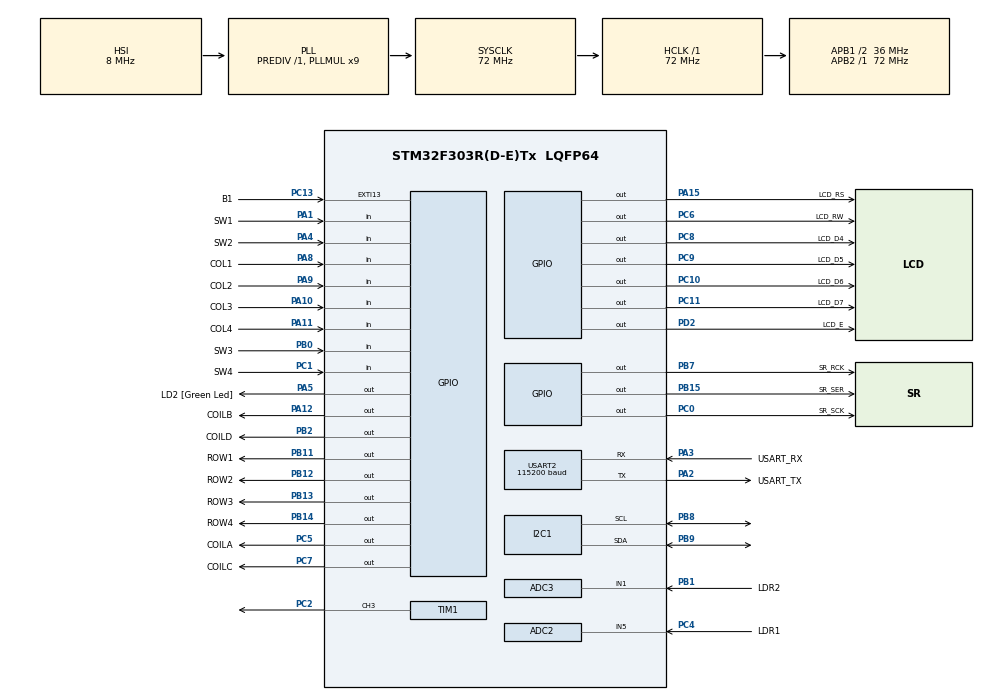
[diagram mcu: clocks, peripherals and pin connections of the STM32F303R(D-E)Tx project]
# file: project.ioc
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ADC2.Channel-1\#ChannelRegularConversion=ADC_CHANNEL_5
ADC2.NbrOfConversionFlag=1
ADC2.Offset-1\#ChannelRegularConversion=0
ADC2.OffsetNumber-1\#ChannelRegularConversion=ADC_OFFSET_NONE
ADC2.Rank-1\#ChannelRegularConversion=1
ADC2.SamplingTime-1\#ChannelRegularConversion=ADC_SAMPLETIME_1CYCLE_5
ADC3.Channel-2\#ChannelRegularConversion=ADC_CHANNEL_1
ADC3.NbrOfConversionFlag=1
ADC3.Offset-2\#ChannelRegularConversion=0
ADC3.OffsetNumber-2\#ChannelRegularConversion=ADC_OFFSET_NONE
ADC3.Rank-2\#ChannelRegularConversion=1
ADC3.SamplingTime-2\#ChannelRegularConversion=ADC_SAMPLETIME_1CYCLE_5
ADC3.SamplingTimeOPAMP-2\#ChannelRegularConversion=ADC_SAMPLETIME_61CYCLES_5
ADC3.master=1
I2C1.Timing=0x00201D2B
Mcu.Family=STM32F3
Mcu.Name=STM32F303R(D-E)Tx
Mcu.Package=LQFP64
NVIC.EXTI15_10_IRQn=true\:0\:0\:false\:false\:true\:true\:true\:true
NVIC.PriorityGroup=NVIC_PRIORITYGROUP_0
NVIC.TIM2_IRQn=true\:0\:0\:false\:false\:true\:true\:true\:true
PA1.GPIO_Label=SW1
PA1.Signal=GPIO_Input
PA10.GPIO_Label=COL3
PA10.GPIO_PuPd=GPIO_PULLUP
PA10.Signal=GPIO_Input
PA11.GPIO_Label=COL4
PA11.GPIO_PuPd=GPIO_PULLUP
PA11.Signal=GPIO_Input
PA12.GPIO_Label=COILB
PA12.Signal=GPIO_Output
PA13.GPIO_Label=TMS
PA13.Mode=Serial_Wire
PA13.Signal=SYS_JTMS-SWDIO
PA14.GPIO_Label=TCK
PA14.Mode=Serial_Wire
PA14.Signal=SYS_JTCK-SWCLK
PA15.GPIO_Label=LCD_RS
PA15.Signal=GPIO_Output
PA2.GPIO_Label=USART_TX
PA2.GPIO_Mode=GPIO_MODE_AF_PP
PA2.GPIO_PuPd=GPIO_NOPULL
PA2.GPIO_Speed=GPIO_SPEED_FREQ_LOW
PA2.Mode=Asynchronous
PA2.Signal=USART2_TX
PA3.GPIO_Label=USART_RX
PA3.GPIO_Mode=GPIO_MODE_AF_PP
PA3.GPIO_PuPd=GPIO_NOPULL
PA3.GPIO_Speed=GPIO_SPEED_FREQ_LOW
PA3.Mode=Asynchronous
PA3.Signal=USART2_RX
PA4.GPIO_Label=SW2
PA4.Signal=GPIO_Input
PA5.GPIO_Label=LD2 [Green Led]
PA5.GPIO_Mode=GPIO_MODE_OUTPUT_PP
PA5.GPIO_PuPd=GPIO_NOPULL
PA5.GPIO_Speed=GPIO_SPEED_FREQ_LOW
PA5.Signal=GPIO_Output
PA8.GPIO_Label=COL1
PA8.GPIO_PuPd=GPIO_PULLUP
PA8.Signal=GPIO_Input
PA9.GPIO_Label=COL2
PA9.GPIO_PuPd=GPIO_PULLUP
PA9.Signal=GPIO_Input
PB0.GPIO_Label=SW3
PB0.Signal=GPIO_Input
PB1.GPIO_Label=LDR2
PB1.Mode=IN1-Single-Ended
PB1.Signal=ADC3_IN1
PB11.GPIO_Label=ROW1
PB11.Signal=GPIO_Output
PB12.GPIO_Label=ROW2
PB12.Signal=GPIO_Output
PB13.GPIO_Label=ROW3
PB13.Signal=GPIO_Output
PB14.GPIO_Label=ROW4
PB14.Signal=GPIO_Output
PB15.GPIO_Label=SR_SER
PB15.Signal=GPIO_Output
PB2.GPIO_Label=COILD
PB2.Signal=GPIO_Output
PB3.GPIO_Label=SWO
PB3.Signal=SYS_JTDO-TRACESWO
PB7.GPIO_Label=SR_RCK
PB7.Signal=GPIO_Output
PB8.Mode=I2C
PB8.Signal=I2C1_SCL
PB9.Mode=I2C
PB9.Signal=I2C1_SDA
PC0.GPIO_Label=SR_SCK
PC0.Signal=GPIO_Output
PC1.GPIO_Label=SW4
PC1.Signal=GPIO_Input
PC10.GPIO_Label=LCD_D6
PC10.Signal=GPIO_Output
PC11.GPIO_Label=LCD_D7
PC11.Signal=GPIO_Output
PC13.GPIO_Label=B1
PC13.GPIO_ModeDefaultEXTI=GPIO_MODE_IT_FALLING
PC13.Signal=GPXTI13
PC14-OSC32_IN.Mode=LSE-External-Oscillator
PC14-OSC32_IN.Signal=RCC_OSC32_IN
PC15-OSC32_OUT.Mode=LSE-External-Oscillator
PC15-OSC32_OUT.Signal=RCC_OSC32_OUT
PC2.Signal=S_TIM1_CH3
PC4.GPIO_Label=LDR1
PC4.Mode=IN5-Single-Ended
PC4.Signal=ADC2_IN5
PC5.GPIO_Label=COILA
PC5.Signal=GPIO_Output
PC6.GPIO_Label=LCD_RW
PC6.Signal=GPIO_Output
PC7.GPIO_Label=COILC
PC7.Signal=GPIO_Output
PC8.GPIO_Label=LCD_D4
PC8.Signal=GPIO_Output
PC9.GPIO_Label=LCD_D5
PC9.Signal=GPIO_Output
PD2.GPIO_Label=LCD_E
PD2.Signal=GPIO_Output
PF0-OSC_IN.Mode=HSE-External-Clock-Source
PF0-OSC_IN.Signal=RCC_OSC_IN
PF1-OSC_OUT.Signal=RCC_OSC_OUT
ProjectManager.HeapSize=0x200
ProjectManager.StackSize=0x400
ProjectManager.TargetToolchain=STM32CubeIDE
RCC.AHBFreq_Value=72000000
RCC.APB1CLKDivider=RCC_HCLK_DIV2
RCC.APB1Freq_Value=36000000
RCC.APB1TimFreq_Value=72000000
RCC.APB2Freq_Value=72000000
RCC.APB2TimFreq_Value=72000000
RCC.CortexFreq_Value=72000000
RCC.HCLKFreq_Value=72000000
RCC.HSE_VALUE=8000000
RCC.HSI_VALUE=8000000
RCC.PLLM=8
RCC.PLLMUL=RCC_PLL_MUL9
RCC.PLLN=336
RCC.PLLP=RCC_PLLP_DIV4
RCC.PLLQ=7
RCC.RCC_PLLsource_Clock_Source_FROM_HSE=RCC_HSE_PREDIV_DIV2
RCC.SYSCLKFreq_VALUE=72000000
RCC.SYSCLKSourceVirtual=RCC_SYSCLKSOURCE_PLLCLK
RCC.USBFreq_Value=72000000
SH.S_TIM1_CH3.0=TIM1_CH3,PWM Generation3 CH3
TIM1.Channel-PWM\ Generation3\ CH3=TIM_CHANNEL_3
TIM1.Prescaler=35
TIM2.Period=1999
TIM2.Prescaler=71
TIM6.Prescaler=65535
USART2.BaudRate=115200
USART2.VirtualMode-Asynchronous=VM_ASYNC
VP_TIM1_VS_ClockSourceINT.Mode=Internal
VP_TIM2_VS_ClockSourceINT.Mode=Internal
VP_TIM6_VS_ClockSourceINT.Mode=Enable_Timer
board=NUCLEO-F303RE

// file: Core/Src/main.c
/* USER CODE BEGIN Header */
/**
  ******************************************************************************
  * @file           : main.c
  * @brief          : Main program body
  ******************************************************************************
  * @attention
  *
  * Copyright (c) 2026 STMicroelectronics.
  * All rights reserved.
  *
  * This software is licensed under terms that can be found in the LICENSE file
  * in the root directory of this software component.
  * If no LICENSE file comes with this software, it is provided AS-IS.
  *
  ******************************************************************************
  */
/* USER CODE END Header */
#include "main.h"

/* USER CODE BEGIN Includes */
#include <stdio.h>

#include "motor.h"
#include "ldr.h"
#include "ShiftReg.h"
#include "proj_keypad.h"
#include "proj_lcd.h"
#include "proj_events.h"
#include "proj_auth.h"
/* USER CODE END Includes */

/* USER CODE BEGIN PD */
enum person_pos {
	IDLE,
	IN_APRCH,
	IN_BLOCK,
	IN_THRU,
	OUT_APRCH,
	OUT_BLOCK,
	OUT_THRU
};

enum door_state {
	CLOSED,
	IN_OPEN,
	IN_CLOSE,
	OUT_OPEN,
	OUT_CLOSE
};
/* USER CODE END PD */

/* USER CODE BEGIN PM */
#define LOW_FREQ_ARR 6078
#define HIGH_FREQ_ARR 3039
#define DOPEN_PERIOD 7690u
/* USER CODE END PM */

ADC_HandleTypeDef hadc2;
ADC_HandleTypeDef hadc3;

I2C_HandleTypeDef hi2c1;

TIM_HandleTypeDef htim1;
TIM_HandleTypeDef htim2;
TIM_HandleTypeDef htim6;

UART_HandleTypeDef huart2;

/* USER CODE BEGIN PV */
int buzzer_counter = 0;
int unauth_flag = 0;
bool updateLCD = true;
/* USER CODE END PV */

void SystemClock_Config(void);
static void MX_GPIO_Init(void);
static void MX_USART2_UART_Init(void);
static void MX_TIM2_Init(void);
static void MX_ADC2_Init(void);
static void MX_ADC3_Init(void);
static void MX_I2C1_Init(void);
static void MX_TIM1_Init(void);
static void MX_TIM6_Init(void);

/* USER CODE BEGIN 0 */
/*==================================================================*/
int _write(int file, char *ptr, int len)
{
	HAL_UART_Transmit(&huart2, (uint8_t*)ptr, len, HAL_MAX_DELAY);
    return len;
}
/*==================================================================*/

/* Start alert. */
static void unauth_alert_start(void) {
	unauth_flag = 1;
	buzzer_counter = 1;

	TIM1->ARR = LOW_FREQ_ARR;
	TIM1->CCR3 = LOW_FREQ_ARR / 20;

	/* Display initial value. */
	ShiftRegDisplay();
}

/* Toggle the buzzer's tone, and right shift the shift register. */
static void unauth_update_peripherals(void) {
	/* Prevent this function being called repeatedly from the main while loop. */
	buzzer_counter = 1;

	if (TIM1->ARR == LOW_FREQ_ARR) {
		TIM1->ARR = HIGH_FREQ_ARR;
		TIM1->CCR3 = HIGH_FREQ_ARR / 20;
	} else {
		TIM1->ARR = LOW_FREQ_ARR;
		TIM1->CCR3 = LOW_FREQ_ARR / 20;
	}
	ShiftRegRightShift();
}

/* Turn off the alert. */
static void unauth_alert_end(void) {
	buzzer_counter = 0;
	unauth_flag = 0;
	TIM1->CCR3 = 0;
	ShiftRegReset();
}
/* USER CODE END 0 */

int main(void)
{

  /* MCU Configuration--------------------------------------------------------*/

  /* Reset of all peripherals, Initializes the Flash interface and the Systick. */
  HAL_Init();

  /* Configure the system clock */
  SystemClock_Config();

  /* Initialize all configured peripherals */
  MX_GPIO_Init();
  MX_USART2_UART_Init();
  MX_TIM2_Init();
  MX_ADC2_Init();
  MX_ADC3_Init();
  MX_I2C1_Init();
  MX_TIM1_Init();
  MX_TIM6_Init();
  /* USER CODE BEGIN 2 */
  /*===============Motor Init===================*/
  Motor_Init();
  Motor_Reset();
  HAL_TIM_Base_Start_IT(&htim2);
  /*==============================================*/
  HAL_TIM_PWM_Start(&htim1, TIM_CHANNEL_3);
  HAL_TIM_Base_Start(&htim6);
  enum person_pos pos = IDLE;
  // LCD init
    LCD_init();

	char test[] = "UART OK\r\n";
	HAL_UART_Transmit(&huart2, (uint8_t*)test, strlen(test), HAL_MAX_DELAY);

  	// Event scheduler initialiser
  	Event *head;
  	Event *curr;

  	EventInit(&head);
  	curr = NULL;

  	LCD_send_cmd(LCD_CLEAR);
  	LCD_send_cmd(LCD_ROW_1);
  	LCD_send_string("Initialising");
  	HAL_Delay(1000);
  	SetStartTime();

  	  // RFID init
  	printf("BEFORE PN532\r\n");

  	if(!PN532_Init())
  	{
  		printf("PN532 ERROR\r\n");
  	    Error_Handler();
  	}

  	printf("AFTER PN532\r\n");
  /* USER CODE END 2 */

  /* Infinite loop */
  /* USER CODE BEGIN WHILE */
  enum door_state dstate = CLOSED;
  int dopen_pending = 0;
  uint32_t dopen_time;
  int keypad_auth = 0;
  int auth_count = 0;
  int event_count = 0;
  while (1)
  {
	  int s1 = ldr1_active();
	  int s2 = ldr2_active();

	  /* Door FSM. */
	  if (dstate == CLOSED) {
		  if (dopen_pending || event_count) {
			  dstate = IN_OPEN;
			  Motor_SetPosition(OPEN_ForEntrance);
		  } else if (s2 && !s1) {
			  dstate = OUT_OPEN;
			  Motor_SetPosition(OPEN_ForExit);
		  }
		  dopen_time = TIM6->CNT;
	  } else if (dstate == IN_OPEN) {
		  /* Might tweak DOPEN_PERIOD based on how long the motor takes to rotate. */
		  if (event_count) {
			  dopen_time = TIM6->CNT;
		  } else if ((uint32_t)(TIM6->CNT - dopen_time) >= DOPEN_PERIOD) {
			  dstate = IN_CLOSE;
			  Motor_SetPosition(CLOSE);
		  }
	  } else if (dstate == IN_CLOSE) {
		  if (s1 || s2) {
			  dstate = IN_OPEN;
			  Motor_SetPosition(OPEN_ForEntrance);
			  dopen_time = TIM6->CNT;
		  } else if (DoorIsClosed()) {
			  dopen_pending = 0;
			  dstate = CLOSED;
			  auth_count = 0;
		  }
	  } else if (dstate == OUT_OPEN) {
		  if ((uint32_t)(TIM6->CNT - dopen_time) >= DOPEN_PERIOD) {
			  dstate = OUT_CLOSE;
			  Motor_SetPosition(CLOSE);
		  }
	  } else { /* dstate == OUT_CLOSE */
		  if (s1 || s2) {
			  dstate = OUT_OPEN;
			  Motor_SetPosition(OPEN_ForExit);
			  dopen_time = TIM6->CNT;
		  } else if (DoorIsClosed()) {
			  dopen_pending = 0;
			  dstate = CLOSED;
			  auth_count = 0;
		  }
	  }

//	  if (HAL_GPIO_ReadPin(GPIOA, SW2_Pin)) {
//		  unauth_alert_end();
//	  }

	  if (unauth_flag && !buzzer_counter) {
		  unauth_update_peripherals();
	  }

	  /* This is an FSM that determines a person's position in the doorway,
	   * so that we can count incoming people. Alert security when the count
	   * of incoming people exceeds the count of authorised access cards.
	   */
	  if (pos == IDLE) {
		  if (s1) {
			  pos = IN_APRCH;
		  }
		  if (s2) {
			  pos = OUT_APRCH;
		  }
	  } else if (pos == IN_APRCH) {
		  if (!s1) {
			  pos = IDLE;
		  }
		  if (s2) {
			  pos = IN_BLOCK;
		  }
	  } else if (pos == IN_BLOCK) {
		  if (!s1) {
			  pos = IN_THRU;
		  }
		  if (!s2) {
			  pos = IN_APRCH;
		  }
	  } else if (pos == IN_THRU) {
		  if (s1) {
			  pos = IN_BLOCK;
		  }
		  if (!s2) {
			  auth_count--;
			  if (auth_count < 0) {
				  unauth_alert_start();
			  }
			  HAL_GPIO_WritePin(LD2_GPIO_Port, LD2_Pin, 1);
			  HAL_Delay(1000);
			  HAL_GPIO_WritePin(LD2_GPIO_Port, LD2_Pin, 0);
			  pos = IDLE;
		  }
	  } else if (pos == OUT_APRCH) {
		  if (!s2) {
			  pos = IDLE;
		  }
		  if (s1) {
			  pos = OUT_BLOCK;
		  }
	  } else if (pos == OUT_BLOCK) {
		  if (!s1) {
			  pos = OUT_APRCH;
		  }
		  if (!s2) {
			  pos = OUT_THRU;
		  }
	  } else {
		  if (s2) {
			  pos = OUT_BLOCK;
		  }
		  if (!s1) {
			  pos = IDLE;
		  }
	  }

	  Motor_ManualSetLocation();

	  /*==============================================*/
	  // Change to NFC trigger Condition
	  /*==============================================*/
//	  if (HAL_GPIO_ReadPin(GPIOA, SW2_Pin) == 1) {
//		  HAL_Delay(12);
//		  Motor_SetPosition(OPEN_ForEntrance);
//	  }

	  /*==============================================*/
	  // Change to Motor Stopping Condition
	  /*==============================================*/
//	  if (HAL_GPIO_ReadPin(GPIOA, SW1_Pin) == 1) {
//	    HAL_Delay(12);
//	    Motor_Stop();
//	  }

	  if (keypad_auth) {
		  if (updateLCD) {
			  /* Display management menu. */
			  DisplayScreen(curr);
			  updateLCD = false;
		  }
		  ReadKeypad(&head, &curr, &dopen_pending, &keypad_auth, &auth_count, &dopen_time);
	  } else {
		  /* Authorisation check. */
		  Access_Check(&dopen_pending, &keypad_auth, &auth_count);
		  HAL_Delay(100);
	  }
//	  else if (authLevel == AUTH_DOOR) { /* Handled in door FSM now. */
//		  Motor_SetPosition(OPEN_ForEntrance);
//		  printf("open door\r\n");
//
//		  doorOpen = true;
//		  doorOpenTime = HAL_GetTick();
//
//		  authLevel = AUTH_NONE;
//	  }

//	  if (doorOpen && !scheduledOpen) {
//	      if ((HAL_GetTick() - doorOpenTime) > 5000) {
//	          Motor_SetPosition(CLOSE);
//	          doorOpen = false;
//	      }
//	  }

	  // Check events every loop
	  CheckEvents(&head, &curr, &event_count);

    /* USER CODE END WHILE */

  }
}

void SystemClock_Config(void)
{
  RCC_OscInitTypeDef RCC_OscInitStruct = {0};
  RCC_ClkInitTypeDef RCC_ClkInitStruct = {0};
  RCC_PeriphCLKInitTypeDef PeriphClkInit = {0};

  /** Initializes the RCC Oscillators according to the specified parameters
  * in the RCC_OscInitTypeDef structure.
  */
  RCC_OscInitStruct.OscillatorType = RCC_OSCILLATORTYPE_HSI;
  RCC_OscInitStruct.HSIState = RCC_HSI_ON;
  RCC_OscInitStruct.HSICalibrationValue = RCC_HSICALIBRATION_DEFAULT;
  RCC_OscInitStruct.PLL.PLLState = RCC_PLL_ON;
  RCC_OscInitStruct.PLL.PLLSource = RCC_PLLSOURCE_HSI;
  RCC_OscInitStruct.PLL.PLLMUL = RCC_PLL_MUL9;
  RCC_OscInitStruct.PLL.PREDIV = RCC_PREDIV_DIV1;
  if (HAL_RCC_OscConfig(&RCC_OscInitStruct) != HAL_OK)
  {
    Error_Handler();
  }

  /** Initializes the CPU, AHB and APB buses clocks
  */
  RCC_ClkInitStruct.ClockType = RCC_CLOCKTYPE_HCLK|RCC_CLOCKTYPE_SYSCLK
                              |RCC_CLOCKTYPE_PCLK1|RCC_CLOCKTYPE_PCLK2;
  RCC_ClkInitStruct.SYSCLKSource = RCC_SYSCLKSOURCE_PLLCLK;
  RCC_ClkInitStruct.AHBCLKDivider = RCC_SYSCLK_DIV1;
  RCC_ClkInitStruct.APB1CLKDivider = RCC_HCLK_DIV2;
  RCC_ClkInitStruct.APB2CLKDivider = RCC_HCLK_DIV1;

  if (HAL_RCC_ClockConfig(&RCC_ClkInitStruct, FLASH_LATENCY_2) != HAL_OK)
  {
    Error_Handler();
  }
  PeriphClkInit.PeriphClockSelection = RCC_PERIPHCLK_USART2|RCC_PERIPHCLK_I2C1
                              |RCC_PERIPHCLK_TIM1|RCC_PERIPHCLK_ADC12
                              |RCC_PERIPHCLK_ADC34|RCC_PERIPHCLK_TIM2;
  PeriphClkInit.Usart2ClockSelection = RCC_USART2CLKSOURCE_PCLK1;
  PeriphClkInit.Adc12ClockSelection = RCC_ADC12PLLCLK_DIV1;
  PeriphClkInit.Adc34ClockSelection = RCC_ADC34PLLCLK_DIV1;
  PeriphClkInit.I2c1ClockSelection = RCC_I2C1CLKSOURCE_HSI;
  PeriphClkInit.Tim1ClockSelection = RCC_TIM1CLK_HCLK;
  PeriphClkInit.Tim2ClockSelection = RCC_TIM2CLK_HCLK;
  if (HAL_RCCEx_PeriphCLKConfig(&PeriphClkInit) != HAL_OK)
  {
    Error_Handler();
  }
}

static void MX_ADC2_Init(void)
{

  ADC_ChannelConfTypeDef sConfig = {0};

  /** Common config
  */
  hadc2.Instance = ADC2;
  hadc2.Init.ClockPrescaler = ADC_CLOCK_ASYNC_DIV1;
  hadc2.Init.Resolution = ADC_RESOLUTION_12B;
  hadc2.Init.ScanConvMode = ADC_SCAN_DISABLE;
  hadc2.Init.ContinuousConvMode = DISABLE;
  hadc2.Init.DiscontinuousConvMode = DISABLE;
  hadc2.Init.ExternalTrigConvEdge = ADC_EXTERNALTRIGCONVEDGE_NONE;
  hadc2.Init.ExternalTrigConv = ADC_SOFTWARE_START;
  hadc2.Init.DataAlign = ADC_DATAALIGN_RIGHT;
  hadc2.Init.NbrOfConversion = 1;
  hadc2.Init.DMAContinuousRequests = DISABLE;
  hadc2.Init.EOCSelection = ADC_EOC_SINGLE_CONV;
  hadc2.Init.LowPowerAutoWait = DISABLE;
  hadc2.Init.Overrun = ADC_OVR_DATA_OVERWRITTEN;
  if (HAL_ADC_Init(&hadc2) != HAL_OK)
  {
    Error_Handler();
  }

  /** Configure Regular Channel
  */
  sConfig.Channel = ADC_CHANNEL_5;
  sConfig.Rank = ADC_REGULAR_RANK_1;
  sConfig.SingleDiff = ADC_SINGLE_ENDED;
  sConfig.SamplingTime = ADC_SAMPLETIME_1CYCLE_5;
  sConfig.OffsetNumber = ADC_OFFSET_NONE;
  sConfig.Offset = 0;
  if (HAL_ADC_ConfigChannel(&hadc2, &sConfig) != HAL_OK)
  {
    Error_Handler();
  }

}

static void MX_ADC3_Init(void)
{

  ADC_MultiModeTypeDef multimode = {0};
  ADC_ChannelConfTypeDef sConfig = {0};

  /** Common config
  */
  hadc3.Instance = ADC3;
  hadc3.Init.ClockPrescaler = ADC_CLOCK_ASYNC_DIV1;
  hadc3.Init.Resolution = ADC_RESOLUTION_12B;
  hadc3.Init.ScanConvMode = ADC_SCAN_DISABLE;
  hadc3.Init.ContinuousConvMode = DISABLE;
  hadc3.Init.DiscontinuousConvMode = DISABLE;
  hadc3.Init.ExternalTrigConvEdge = ADC_EXTERNALTRIGCONVEDGE_NONE;
  hadc3.Init.ExternalTrigConv = ADC_SOFTWARE_START;
  hadc3.Init.DataAlign = ADC_DATAALIGN_RIGHT;
  hadc3.Init.NbrOfConversion = 1;
  hadc3.Init.DMAContinuousRequests = DISABLE;
  hadc3.Init.EOCSelection = ADC_EOC_SINGLE_CONV;
  hadc3.Init.LowPowerAutoWait = DISABLE;
  hadc3.Init.Overrun = ADC_OVR_DATA_OVERWRITTEN;
  if (HAL_ADC_Init(&hadc3) != HAL_OK)
  {
    Error_Handler();
  }

  /** Configure the ADC multi-mode
  */
  multimode.Mode = ADC_MODE_INDEPENDENT;
  if (HAL_ADCEx_MultiModeConfigChannel(&hadc3, &multimode) != HAL_OK)
  {
    Error_Handler();
  }

  /** Configure Regular Channel
  */
  sConfig.Channel = ADC_CHANNEL_1;
  sConfig.Rank = ADC_REGULAR_RANK_1;
  sConfig.SingleDiff = ADC_SINGLE_ENDED;
  sConfig.SamplingTime = ADC_SAMPLETIME_1CYCLE_5;
  sConfig.OffsetNumber = ADC_OFFSET_NONE;
  sConfig.Offset = 0;
  if (HAL_ADC_ConfigChannel(&hadc3, &sConfig) != HAL_OK)
  {
    Error_Handler();
  }

}

static void MX_I2C1_Init(void)
{

  hi2c1.Instance = I2C1;
  hi2c1.Init.Timing = 0x00201D2B;
  hi2c1.Init.OwnAddress1 = 0;
  hi2c1.Init.AddressingMode = I2C_ADDRESSINGMODE_7BIT;
  hi2c1.Init.DualAddressMode = I2C_DUALADDRESS_DISABLE;
  hi2c1.Init.OwnAddress2 = 0;
  hi2c1.Init.OwnAddress2Masks = I2C_OA2_NOMASK;
  hi2c1.Init.GeneralCallMode = I2C_GENERALCALL_DISABLE;
  hi2c1.Init.NoStretchMode = I2C_NOSTRETCH_DISABLE;
  if (HAL_I2C_Init(&hi2c1) != HAL_OK)
  {
    Error_Handler();
  }

  /** Configure Analogue filter
  */
  if (HAL_I2CEx_ConfigAnalogFilter(&hi2c1, I2C_ANALOGFILTER_ENABLE) != HAL_OK)
  {
    Error_Handler();
  }

  /** Configure Digital filter
  */
  if (HAL_I2CEx_ConfigDigitalFilter(&hi2c1, 0) != HAL_OK)
  {
    Error_Handler();
  }

}

static void MX_TIM1_Init(void)
{

  TIM_ClockConfigTypeDef sClockSourceConfig = {0};
  TIM_MasterConfigTypeDef sMasterConfig = {0};
  TIM_OC_InitTypeDef sConfigOC = {0};
  TIM_BreakDeadTimeConfigTypeDef sBreakDeadTimeConfig = {0};

  htim1.Instance = TIM1;
  htim1.Init.Prescaler = 35;
  htim1.Init.CounterMode = TIM_COUNTERMODE_UP;
  htim1.Init.Period = 65535;
  htim1.Init.ClockDivision = TIM_CLOCKDIVISION_DIV1;
  htim1.Init.RepetitionCounter = 0;
  htim1.Init.AutoReloadPreload = TIM_AUTORELOAD_PRELOAD_DISABLE;
  if (HAL_TIM_Base_Init(&htim1) != HAL_OK)
  {
    Error_Handler();
  }
  sClockSourceConfig.ClockSource = TIM_CLOCKSOURCE_INTERNAL;
  if (HAL_TIM_ConfigClockSource(&htim1, &sClockSourceConfig) != HAL_OK)
  {
    Error_Handler();
  }
  if (HAL_TIM_PWM_Init(&htim1) != HAL_OK)
  {
    Error_Handler();
  }
  sMasterConfig.MasterOutputTrigger = TIM_TRGO_RESET;
  sMasterConfig.MasterOutputTrigger2 = TIM_TRGO2_RESET;
  sMasterConfig.MasterSlaveMode = TIM_MASTERSLAVEMODE_DISABLE;
  if (HAL_TIMEx_MasterConfigSynchronization(&htim1, &sMasterConfig) != HAL_OK)
  {
    Error_Handler();
  }
  sConfigOC.OCMode = TIM_OCMODE_PWM1;
  sConfigOC.Pulse = 0;
  sConfigOC.OCPolarity = TIM_OCPOLARITY_HIGH;
  sConfigOC.OCNPolarity = TIM_OCNPOLARITY_HIGH;
  sConfigOC.OCFastMode = TIM_OCFAST_DISABLE;
  sConfigOC.OCIdleState = TIM_OCIDLESTATE_RESET;
  sConfigOC.OCNIdleState = TIM_OCNIDLESTATE_RESET;
  if (HAL_TIM_PWM_ConfigChannel(&htim1, &sConfigOC, TIM_CHANNEL_3) != HAL_OK)
  {
    Error_Handler();
  }
  sBreakDeadTimeConfig.OffStateRunMode = TIM_OSSR_DISABLE;
  sBreakDeadTimeConfig.OffStateIDLEMode = TIM_OSSI_DISABLE;
  sBreakDeadTimeConfig.LockLevel = TIM_LOCKLEVEL_OFF;
  sBreakDeadTimeConfig.DeadTime = 0;
  sBreakDeadTimeConfig.BreakState = TIM_BREAK_DISABLE;
  sBreakDeadTimeConfig.BreakPolarity = TIM_BREAKPOLARITY_HIGH;
  sBreakDeadTimeConfig.BreakFilter = 0;
  sBreakDeadTimeConfig.Break2State = TIM_BREAK2_DISABLE;
  sBreakDeadTimeConfig.Break2Polarity = TIM_BREAK2POLARITY_HIGH;
  sBreakDeadTimeConfig.Break2Filter = 0;
  sBreakDeadTimeConfig.AutomaticOutput = TIM_AUTOMATICOUTPUT_DISABLE;
  if (HAL_TIMEx_ConfigBreakDeadTime(&htim1, &sBreakDeadTimeConfig) != HAL_OK)
  {
    Error_Handler();
  }
  HAL_TIM_MspPostInit(&htim1);

}

static void MX_TIM2_Init(void)
{

  TIM_ClockConfigTypeDef sClockSourceConfig = {0};
  TIM_MasterConfigTypeDef sMasterConfig = {0};

  htim2.Instance = TIM2;
  htim2.Init.Prescaler = 71;
  htim2.Init.CounterMode = TIM_COUNTERMODE_UP;
  htim2.Init.Period = 1999;
  htim2.Init.ClockDivision = TIM_CLOCKDIVISION_DIV1;
  htim2.Init.AutoReloadPreload = TIM_AUTORELOAD_PRELOAD_DISABLE;
  if (HAL_TIM_Base_Init(&htim2) != HAL_OK)
  {
    Error_Handler();
  }
  sClockSourceConfig.ClockSource = TIM_CLOCKSOURCE_INTERNAL;
  if (HAL_TIM_ConfigClockSource(&htim2, &sClockSourceConfig) != HAL_OK)
  {
    Error_Handler();
  }
  sMasterConfig.MasterOutputTrigger = TIM_TRGO_RESET;
  sMasterConfig.MasterSlaveMode = TIM_MASTERSLAVEMODE_DISABLE;
  if (HAL_TIMEx_MasterConfigSynchronization(&htim2, &sMasterConfig) != HAL_OK)
  {
    Error_Handler();
  }

}

static void MX_TIM6_Init(void)
{

  TIM_MasterConfigTypeDef sMasterConfig = {0};

  htim6.Instance = TIM6;
  htim6.Init.Prescaler = 65535;
  htim6.Init.CounterMode = TIM_COUNTERMODE_UP;
  htim6.Init.Period = 65535;
  htim6.Init.AutoReloadPreload = TIM_AUTORELOAD_PRELOAD_DISABLE;
  if (HAL_TIM_Base_Init(&htim6) != HAL_OK)
  {
    Error_Handler();
  }
  sMasterConfig.MasterOutputTrigger = TIM_TRGO_RESET;
  sMasterConfig.MasterSlaveMode = TIM_MASTERSLAVEMODE_DISABLE;
  if (HAL_TIMEx_MasterConfigSynchronization(&htim6, &sMasterConfig) != HAL_OK)
  {
    Error_Handler();
  }

}

static void MX_USART2_UART_Init(void)
{

  huart2.Instance = USART2;
  huart2.Init.BaudRate = 115200;
  huart2.Init.WordLength = UART_WORDLENGTH_8B;
  huart2.Init.StopBits = UART_STOPBITS_1;
  huart2.Init.Parity = UART_PARITY_NONE;
  huart2.Init.Mode = UART_MODE_TX_RX;
  huart2.Init.HwFlowCtl = UART_HWCONTROL_NONE;
  huart2.Init.OverSampling = UART_OVERSAMPLING_16;
  huart2.Init.OneBitSampling = UART_ONE_BIT_SAMPLE_DISABLE;
  huart2.AdvancedInit.AdvFeatureInit = UART_ADVFEATURE_NO_INIT;
  if (HAL_UART_Init(&huart2) != HAL_OK)
  {
    Error_Handler();
  }

}

static void MX_GPIO_Init(void)
{
  GPIO_InitTypeDef GPIO_InitStruct = {0};

  /* GPIO Ports Clock Enable */
  __HAL_RCC_GPIOC_CLK_ENABLE();
  __HAL_RCC_GPIOF_CLK_ENABLE();
  __HAL_RCC_GPIOA_CLK_ENABLE();
  __HAL_RCC_GPIOB_CLK_ENABLE();
  __HAL_RCC_GPIOD_CLK_ENABLE();

  /*Configure GPIO pin Output Level */
  HAL_GPIO_WritePin(GPIOC, SR_SCK_Pin|COILA_Pin|LCD_RW_Pin|COILC_Pin
                          |LCD_D4_Pin|LCD_D5_Pin|LCD_D6_Pin|LCD_D7_Pin, GPIO_PIN_RESET);

  /*Configure GPIO pin Output Level */
  HAL_GPIO_WritePin(GPIOA, LD2_Pin|COILB_Pin|LCD_RS_Pin, GPIO_PIN_RESET);

  /*Configure GPIO pin Output Level */
  HAL_GPIO_WritePin(GPIOB, COILD_Pin|ROW1_Pin|ROW2_Pin|ROW3_Pin
                          |ROW4_Pin|SR_SER_Pin|SR_RCK_Pin, GPIO_PIN_RESET);

  /*Configure GPIO pin Output Level */
  HAL_GPIO_WritePin(LCD_E_GPIO_Port, LCD_E_Pin, GPIO_PIN_RESET);

  /*Configure GPIO pin : B1_Pin */
  GPIO_InitStruct.Pin = B1_Pin;
  GPIO_InitStruct.Mode = GPIO_MODE_IT_FALLING;
  GPIO_InitStruct.Pull = GPIO_NOPULL;
  HAL_GPIO_Init(B1_GPIO_Port, &GPIO_InitStruct);

  /*Configure GPIO pins : SR_SCK_Pin COILA_Pin LCD_RW_Pin COILC_Pin
                           LCD_D4_Pin LCD_D5_Pin LCD_D6_Pin LCD_D7_Pin */
  GPIO_InitStruct.Pin = SR_SCK_Pin|COILA_Pin|LCD_RW_Pin|COILC_Pin
                          |LCD_D4_Pin|LCD_D5_Pin|LCD_D6_Pin|LCD_D7_Pin;
  GPIO_InitStruct.Mode = GPIO_MODE_OUTPUT_PP;
  GPIO_InitStruct.Pull = GPIO_NOPULL;
  GPIO_InitStruct.Speed = GPIO_SPEED_FREQ_LOW;
  HAL_GPIO_Init(GPIOC, &GPIO_InitStruct);

  /*Configure GPIO pin : SW4_Pin */
  GPIO_InitStruct.Pin = SW4_Pin;
  GPIO_InitStruct.Mode = GPIO_MODE_INPUT;
  GPIO_InitStruct.Pull = GPIO_NOPULL;
  HAL_GPIO_Init(SW4_GPIO_Port, &GPIO_InitStruct);

  /*Configure GPIO pins : SW1_Pin SW2_Pin */
  GPIO_InitStruct.Pin = SW1_Pin|SW2_Pin;
  GPIO_InitStruct.Mode = GPIO_MODE_INPUT;
  GPIO_InitStruct.Pull = GPIO_NOPULL;
  HAL_GPIO_Init(GPIOA, &GPIO_InitStruct);

  /*Configure GPIO pins : LD2_Pin COILB_Pin LCD_RS_Pin */
  GPIO_InitStruct.Pin = LD2_Pin|COILB_Pin|LCD_RS_Pin;
  GPIO_InitStruct.Mode = GPIO_MODE_OUTPUT_PP;
  GPIO_InitStruct.Pull = GPIO_NOPULL;
  GPIO_InitStruct.Speed = GPIO_SPEED_FREQ_LOW;
  HAL_GPIO_Init(GPIOA, &GPIO_InitStruct);

  /*Configure GPIO pin : SW3_Pin */
  GPIO_InitStruct.Pin = SW3_Pin;
  GPIO_InitStruct.Mode = GPIO_MODE_INPUT;
  GPIO_InitStruct.Pull = GPIO_NOPULL;
  HAL_GPIO_Init(SW3_GPIO_Port, &GPIO_InitStruct);

  /*Configure GPIO pins : COILD_Pin ROW1_Pin ROW2_Pin ROW3_Pin
                           ROW4_Pin SR_SER_Pin SR_RCK_Pin */
  GPIO_InitStruct.Pin = COILD_Pin|ROW1_Pin|ROW2_Pin|ROW3_Pin
                          |ROW4_Pin|SR_SER_Pin|SR_RCK_Pin;
  GPIO_InitStruct.Mode = GPIO_MODE_OUTPUT_PP;
  GPIO_InitStruct.Pull = GPIO_NOPULL;
  GPIO_InitStruct.Speed = GPIO_SPEED_FREQ_LOW;
  HAL_GPIO_Init(GPIOB, &GPIO_InitStruct);

  /*Configure GPIO pins : COL1_Pin COL2_Pin COL3_Pin COL4_Pin */
  GPIO_InitStruct.Pin = COL1_Pin|COL2_Pin|COL3_Pin|COL4_Pin;
  GPIO_InitStruct.Mode = GPIO_MODE_INPUT;
  GPIO_InitStruct.Pull = GPIO_PULLUP;
  HAL_GPIO_Init(GPIOA, &GPIO_InitStruct);

  /*Configure GPIO pin : LCD_E_Pin */
  GPIO_InitStruct.Pin = LCD_E_Pin;
  GPIO_InitStruct.Mode = GPIO_MODE_OUTPUT_PP;
  GPIO_InitStruct.Pull = GPIO_NOPULL;
  GPIO_InitStruct.Speed = GPIO_SPEED_FREQ_LOW;
  HAL_GPIO_Init(LCD_E_GPIO_Port, &GPIO_InitStruct);

  /* EXTI interrupt init*/
  HAL_NVIC_SetPriority(EXTI15_10_IRQn, 0, 0);
  HAL_NVIC_EnableIRQ(EXTI15_10_IRQn);

}

/* USER CODE BEGIN 4 */

void HAL_TIM_PeriodElapsedCallback(TIM_HandleTypeDef *htim)
{
	/* Executes once every 2 milliseconds on TIM2 overflow. */
    if (htim->Instance == TIM2)
    {
    	Motor_MoveToTarget();
    	/* buzzer_counter is used to update peripherals (see unauth_update_peripherals)
    	 * once every 100 increments. That works out to 200 milliseconds.
    	 */
    	if (buzzer_counter) {
    		buzzer_counter = (buzzer_counter + 1) % 100;
    	}
    }
}

void HAL_GPIO_EXTI_Callback(uint16_t GPIO_Pin) {
	if (GPIO_Pin == GPIO_PIN_13) {
		unauth_alert_end();
	}
}
/* USER CODE END 4 */

void Error_Handler(void)
{
  __disable_irq();
  while (1)
  {
  }
}
